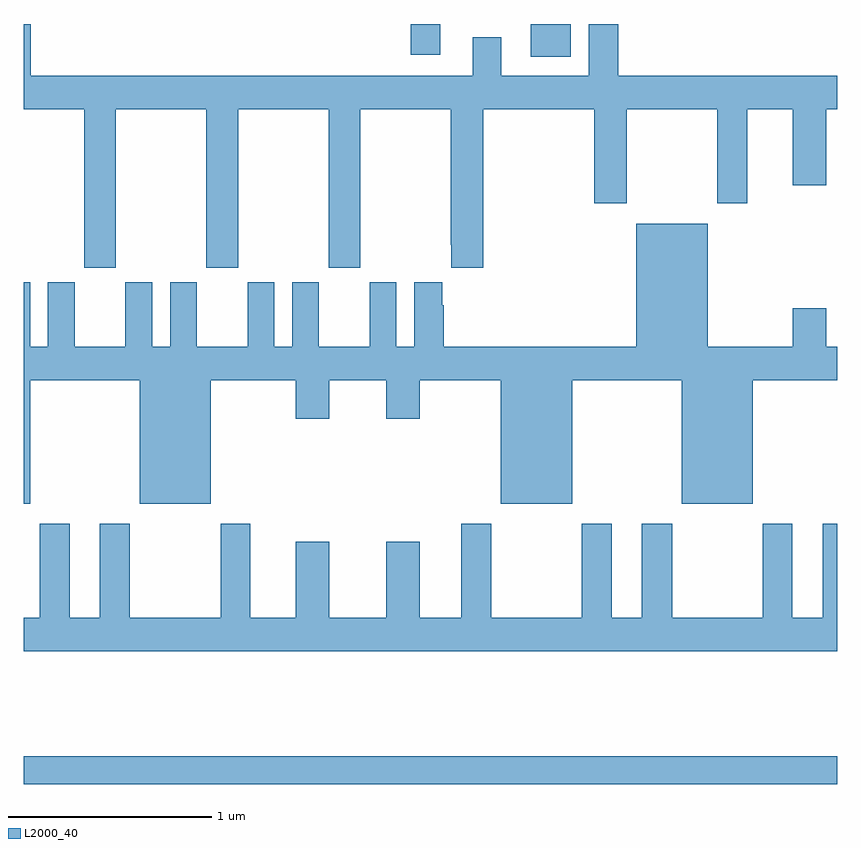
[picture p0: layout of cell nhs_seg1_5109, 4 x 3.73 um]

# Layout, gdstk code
import gdstk
lib = gdstk.Library(unit=1e-6, precision=1e-09)
def R(c, l, rs):  # rectangles x0, y0, x1, y1
    for r in rs: c.add(gdstk.rectangle(r[:2], r[2:], *l))
def P(c, l, *ps):  # polygons
    for p in ps: c.add(gdstk.Polygon(p, *l))
L2000_40 = (2000, 40)

nhs_seg1_5109 = lib.new_cell('nhs_seg1_5109')
R(nhs_seg1_5109, L2000_40, [(389,500.464,393,500.6), (391.493,504.038,391.689,504.199), (390.902,504.048,391.048,504.199)])
P(nhs_seg1_5109, L2000_40, [(389.454,503.78),(389.899,503.78),(389.899,503.001),(390.054,503.001),(390.054,503.78),(390.499,503.78),(390.499,503.001),(390.654,503.001),(390.654,503.78),(391.099,503.78),(391.099,503.113),(391.103,503.113),(391.103,503.001),(391.259,503.001),(391.259,503.78),(391.805,503.78),(391.805,503.319),(391.965,503.319),(391.965,503.78),(392.41,503.78),(392.41,503.319),(392.557,503.319),(392.557,503.78),(392.78,503.78),(392.78,503.406),(392.944,503.406),(392.944,503.78),(393,503.78),(393,503.944),(391.922,503.944),(391.922,504.199),(391.778,504.199),(391.778,503.944),(391.348,503.944),(391.348,504.134),(391.208,504.134),(391.208,503.944),(389.036,503.944),(389.036,504.199),(389,504.199),(389,503.78),(389.299,503.78),(389.299,503.001),(389.454,503.001)],
  [(392.78,502.801),(392.78,502.612),(392.362,502.612),(392.362,503.218),(392.012,503.218),(392.012,502.612),(391.064,502.612),(391.064,502.817),(391.057,502.817),(391.057,502.93),(390.92,502.93),(390.92,502.612),(390.832,502.612),(390.832,502.93),(390.701,502.93),(390.701,502.612),(390.451,502.612),(390.451,502.93),(390.32,502.93),(390.32,502.612),(390.232,502.612),(390.232,502.93),(390.101,502.93),(390.101,502.612),(389.851,502.612),(389.851,502.93),(389.72,502.93),(389.72,502.612),(389.632,502.612),(389.632,502.93),(389.501,502.93),(389.501,502.612),(389.251,502.612),(389.251,502.93),(389.12,502.93),(389.12,502.612),(389.032,502.612),(389.032,502.93),(389,502.93),(389,501.842),(389.032,501.842),(389.032,502.448),(389.57,502.448),(389.57,501.842),(389.92,501.842),(389.92,502.448),(390.338,502.448),(390.338,502.26),(390.502,502.26),(390.502,502.448),(390.782,502.448),(390.782,502.26),(390.946,502.26),(390.946,502.448),(391.346,502.448),(391.346,501.842),(391.696,501.842),(391.696,502.448),(392.234,502.448),(392.234,501.842),(392.584,501.842),(392.584,502.448),(393,502.448),(393,502.612),(392.944,502.612),(392.944,502.801)],
  [(393,501.742),(392.927,501.742),(392.927,501.28),(392.779,501.28),(392.779,501.742),(392.632,501.742),(392.632,501.28),(392.187,501.28),(392.187,501.742),(392.039,501.742),(392.039,501.28),(391.891,501.28),(391.891,501.742),(391.744,501.742),(391.744,501.28),(391.299,501.28),(391.299,501.742),(391.151,501.742),(391.151,501.28),(390.946,501.28),(390.946,501.655),(390.782,501.655),(390.782,501.28),(390.502,501.28),(390.502,501.655),(390.338,501.655),(390.338,501.28),(390.115,501.28),(390.115,501.742),(389.968,501.742),(389.968,501.28),(389.523,501.28),(389.523,501.742),(389.375,501.742),(389.375,501.28),(389.227,501.28),(389.227,501.742),(389.08,501.742),(389.08,501.28),(389,501.28),(389,501.116),(393,501.116)])

lib.write_gds('nhs_seg1_5109.gds')
